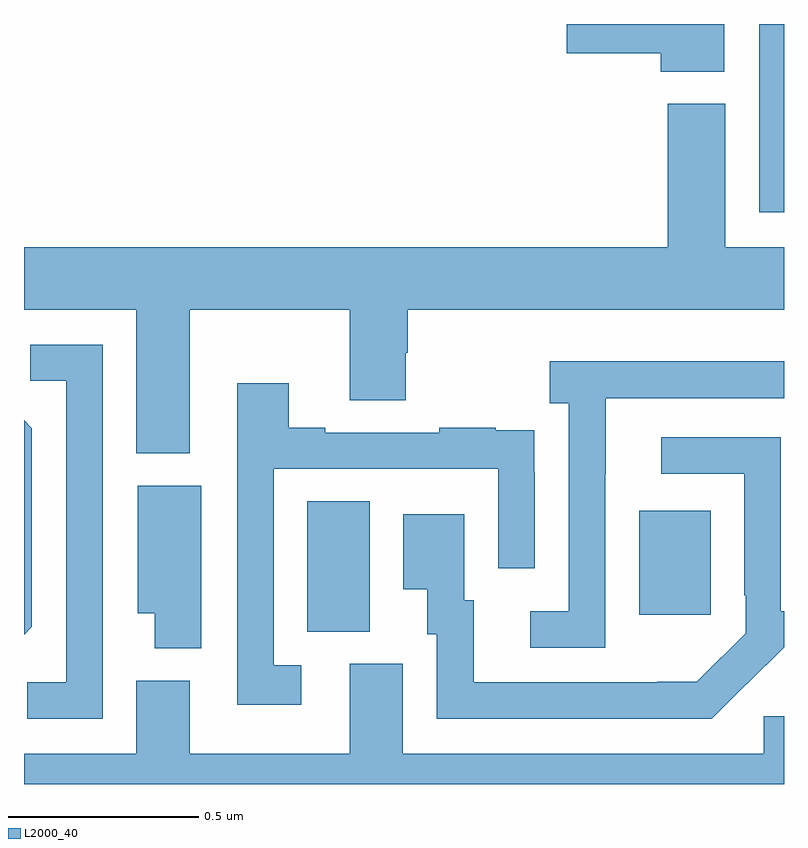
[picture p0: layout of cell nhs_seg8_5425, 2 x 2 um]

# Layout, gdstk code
import gdstk
lib = gdstk.Library(unit=1e-6, precision=1e-09)
def R(c, l, rs):  # rectangles x0, y0, x1, y1
    for r in rs: c.add(gdstk.rectangle(r[:2], r[2:], *l))
def P(c, l, *ps):  # polygons
    for p in ps: c.add(gdstk.Polygon(p, *l))
L2000_40 = (2000, 40)

nhs_seg8_5425 = lib.new_cell('nhs_seg8_5425')
R(nhs_seg8_5425, L2000_40, [(183.746,1134.301,183.91,1134.644), (184.619,1134.345,184.807,1134.619), (184.935,1135.404,185,1135.9)])
P(nhs_seg8_5425, L2000_40, [(184.843,1135.9),(184.428,1135.9),(184.428,1135.823),(184.676,1135.823),(184.676,1135.775),(184.843,1135.775)],
  [(183.436,1135.148),(183.857,1135.148),(183.857,1134.91),(184.005,1134.91),(184.005,1135.035),(184.01,1135.035),(184.01,1135.148),(185,1135.148),(185,1135.312),(184.846,1135.312),(184.846,1135.69),(184.694,1135.69),(184.694,1135.312),(183,1135.312),(183,1135.148),(183.296,1135.148),(183.296,1134.77),(183.436,1134.77)],
  [(183.207,1135.056),(183.016,1135.056),(183.016,1134.961),(183.111,1134.961),(183.111,1134.168),(183.009,1134.168),(183.009,1134.072),(183.207,1134.072)],
  [(184.53,1134.715),(184.531,1134.715),(184.531,1134.915),(185,1134.915),(185,1135.012),(184.383,1135.012),(184.383,1134.902),(184.434,1134.902),(184.434,1134.354),(184.332,1134.354),(184.332,1134.258),(184.53,1134.258)],
  [(183.73,1134.213),(183.657,1134.213),(183.657,1134.729),(184.248,1134.729),(184.248,1134.468),(184.344,1134.468),(184.344,1134.722),(184.343,1134.722),(184.343,1134.831),(184.241,1134.831),(184.241,1134.838),(184.093,1134.838),(184.093,1134.825),(183.793,1134.825),(183.793,1134.838),(183.697,1134.838),(183.697,1134.955),(183.561,1134.955),(183.561,1134.108),(183.73,1134.108)],
  [(183.021,1134.314),(183.021,1134.836),(183,1134.857),(183,1134.293)],
  [(184.901,1134.163),(184.902,1134.162),(185,1134.26),(185,1134.355),(184.992,1134.355),(184.992,1134.813),(184.677,1134.813),(184.677,1134.717),(184.896,1134.717),(184.896,1134.397),(184.899,1134.397),(184.899,1134.297),(184.771,1134.169),(184.667,1134.169),(184.667,1134.168),(184.183,1134.168),(184.183,1134.384),(184.159,1134.384),(184.159,1134.61),(183.998,1134.61),(183.998,1134.413),(184.061,1134.413),(184.061,1134.294),(184.086,1134.294),(184.086,1134.072),(184.81,1134.072)],
  [(183.466,1134.685),(183.299,1134.685),(183.299,1134.35),(183.344,1134.35),(183.344,1134.257),(183.466,1134.257)],
  [(185,1134.078),(184.947,1134.078),(184.947,1133.98),(183.997,1133.98),(183.997,1134.216),(183.857,1134.216),(183.857,1133.98),(183.436,1133.98),(183.436,1134.172),(183.296,1134.172),(183.296,1133.98),(183,1133.98),(183,1133.9),(185,1133.9)])

lib.write_gds('nhs_seg8_5425.gds')
